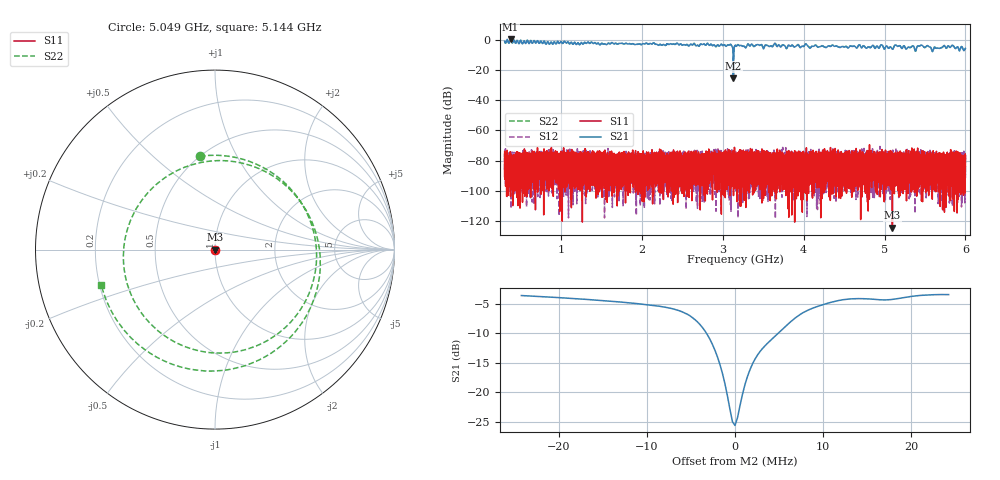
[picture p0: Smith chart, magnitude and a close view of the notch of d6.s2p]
!Agilent Technologies,N5230C,SG49000117,A.08.50.07
!Agilent N5230C: A.08.50.07
!Date: Sunday, March 17, 2024 02:39:55
!Correction: S11(Off)
!S21(Off)
!S12(Off)
!S22(Off)
!S2P File: Measurements: S11, S21, S12, S22:
# Hz S  RI  R 50
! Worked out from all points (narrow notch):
!   20001 points, 300 MHz to 6 GHz, reference 50 ohm
!   highest |S21| = 0.46 dB at 374.1 MHz (marker M1); lowest = -25.6 dB at 3.13 GHz (marker M2)
!   notch at M2: 22.0 dB deep, 4.07 MHz wide at half that depth
!   lowest |S11| = -124.4 dB at 5.097 GHz (marker M3), VSWR 1.00, Z = 50 - j2.9e-07 ohm
!   |S11| at or under -10 dB: start of sweep to end of sweep
!   |S22| runs from -25.5 to 0.5 dB; largest |S21 - S12| = 1.1
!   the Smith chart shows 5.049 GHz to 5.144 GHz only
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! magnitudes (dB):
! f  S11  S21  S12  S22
! 300 MHz  -76.0  -0.9  -86.0  -0.9
! 329.9 MHz  -79.3  0.2  -83.2  0.2
! 374.1 MHz  -81.6  0.5  -75.3  0.5
! 1.25 GHz  -85.1  -1.7  -78.1  -1.7
! 2.2 GHz  -76.0  -3.6  -94.4  -3.6
! 3.08 GHz  -83.9  -3.4  -83.1  -3.4
! 3.13 GHz  -83.1  -25.6  -80.9  -25.5
! 3.15 GHz  -79.6  -3.8  -82.7  -3.8
! 3.17 GHz  -76.7  -4.0  -79.8  -4.0
! 3.268 GHz  -87.7  -4.5  -74.5  -4.4
! 3.334 GHz  -82.0  -4.1  -79.4  -4.1
! 4.03 GHz  -77.8  -2.8  -84.9  -2.7
! 4.1 GHz  -79.5  -4.3  -80.8  -4.2
! 5.05 GHz  -79.6  -5.6  -82.7  -5.6
! 5.097 GHz  -124.4  -6.2  -86.3  -6.2
! 5.151 GHz  -82.4  -3.9  -76.0  -3.9
! 5.389 GHz  -86.2  -6.9  -73.9  -6.9
! 5.446 GHz  -87.4  -3.7  -84.1  -3.7
! 5.585 GHz  -83.1  -7.0  -82.5  -7.0
! 5.837 GHz  -85.2  -3.6  -84.0  -3.7
! 5.97 GHz  -78.0  -6.1  -78.8  -6.1
! 6 GHz  -76.7  -5.7  -91.6  -5.7
